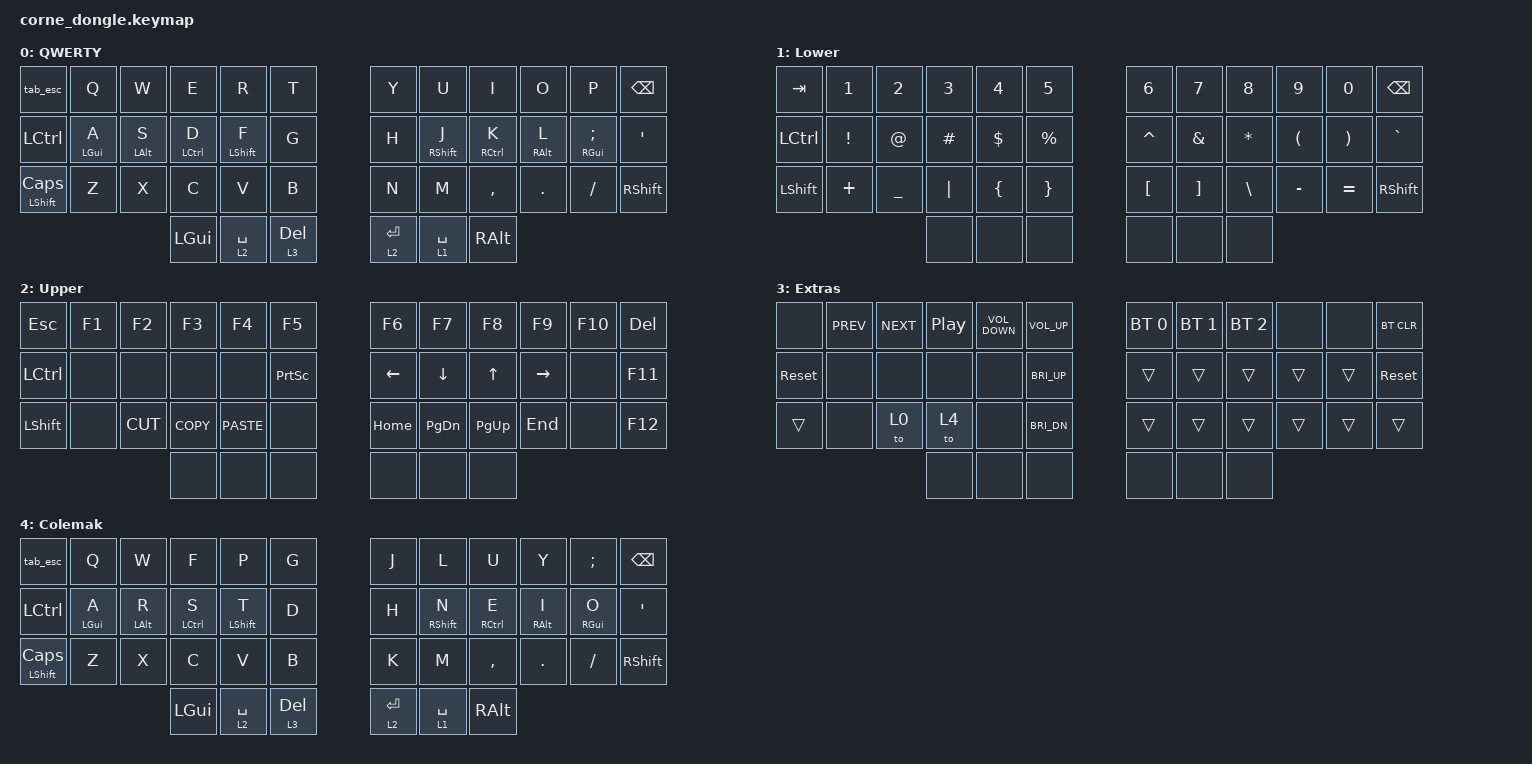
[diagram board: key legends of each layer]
/*
 * Keymap for the Corne dongle (central).
 *
 * NOTE: keep this in sync with corne.keymap. It is a copy with two changes:
 *   1. `&rgb_ug` / `&ext_power` bindings are replaced with `&trans` because the
 *      dongle has no LEDs/ext-power and does not enable those subsystems, so
 *      those behaviors are not defined here and would fail to build.
 *      (RGB still runs on the halves with their start-up settings.)
 *   2. Each layer has a `display-name` so the Prospector layer widget shows names.
 */

#include <behaviors.dtsi>
#include <dt-bindings/zmk/bt.h>
#include <dt-bindings/zmk/ext_power.h>
#include <dt-bindings/zmk/keys.h>
#include <dt-bindings/zmk/rgb.h>

/ {
    behaviors {
        tab_esc: tab_esc {
            compatible = "zmk,behavior-tap-dance";
            label = "TAB_ESC";
            #binding-cells = <0>;
            tapping-term-ms = <200>;
            bindings = <&kp TAB>, <&kp ESC>;
        };

        hm: homerow_mods {
            compatible = "zmk,behavior-hold-tap";
            label = "HOMEROW_MODS";
            #binding-cells = <2>;
            tapping-term-ms = <225>;
            quick_tap_ms = <180>;
            flavor = "tap-preferred";
            bindings = <&kp>, <&kp>;
            global-quick-tap;
        };
    };

    keymap {
        compatible = "zmk,keymap";

        qwerty {
            display-name = "QWERTY";
            bindings = <
&tab_esc                 &kp Q           &kp W           &kp E         &kp R             &kp T         &kp Y        &kp U         &kp I          &kp O            &kp P               &kp BACKSPACE
&kp LCTRL                &hm LEFT_GUI A  &hm LEFT_ALT S  &hm LCTRL D   &hm LEFT_SHIFT F  &kp G         &kp H        &hm RSHIFT J  &hm RCTRL K    &hm RIGHT_ALT L  &hm RGUI SEMICOLON  &kp SQT
&mt LEFT_SHIFT CAPSLOCK  &kp Z           &kp X           &kp C         &kp V             &kp B         &kp N        &kp M         &kp COMMA      &kp DOT          &kp FSLH            &kp RIGHT_SHIFT
                                                         &kp LEFT_GUI  &lt 2 SPACE       &lt 3 DELETE  &lt 2 ENTER  &lt 1 SPACE   &kp RIGHT_ALT
            >;
        };

        lower {
            display-name = "Lower";
            bindings = <
&kp TAB           &kp N1           &kp N2       &kp N3     &kp N4          &kp N5           &kp N6            &kp N7             &kp N8         &kp N9                &kp N0                 &kp BACKSPACE
&kp LEFT_CONTROL  &kp EXCLAMATION  &kp AT_SIGN  &kp POUND  &kp DOLLAR      &kp PERCENT      &kp CARET         &kp AMPERSAND      &kp ASTERISK   &kp LEFT_PARENTHESIS  &kp RIGHT_PARENTHESIS  &kp GRAVE
&kp LEFT_SHIFT    &kp PLUS         &kp UNDER    &kp PIPE   &kp LEFT_BRACE  &kp RIGHT_BRACE  &kp LEFT_BRACKET  &kp RIGHT_BRACKET  &kp BACKSLASH  &kp MINUS             &kp EQUAL              &kp RIGHT_SHIFT
                                                &none      &none           &none            &none             &none              &none
            >;
        };

        upper {
            display-name = "Upper";
            bindings = <
&kp ESCAPE        &kp F1  &kp F2     &kp F3      &kp F4       &kp F5           &kp F6          &kp F7          &kp F8        &kp F9           &kp F10  &kp DELETE
&kp LEFT_CONTROL  &none   &none      &none       &none        &kp PRINTSCREEN  &kp LEFT_ARROW  &kp DOWN_ARROW  &kp UP_ARROW  &kp RIGHT_ARROW  &none    &kp F11
&kp LEFT_SHIFT    &none   &kp K_CUT  &kp K_COPY  &kp K_PASTE  &none            &kp HOME        &kp PAGE_DOWN   &kp PAGE_UP   &kp END          &none    &kp F12
                                     &none       &none        &none            &none           &none           &none
            >;
        };

        extras {
            display-name = "Extras";
            bindings = <
&none      &kp C_PREV  &kp C_NEXT  &kp C_PP  &kp C_VOLUME_DOWN  &kp C_VOL_UP  &bt BT_SEL 0  &bt BT_SEL 1  &bt BT_SEL 2  &none    &none    &bt BT_CLR
&sys_reset &none       &none       &none     &none              &kp C_BRI_UP  &trans        &trans        &trans        &trans   &trans   &sys_reset
&trans     &none       &to 0       &to 4     &none              &kp C_BRI_DN  &trans        &trans        &trans        &trans   &trans   &trans
                                   &none     &none              &none         &none         &none         &none
            >;
        };

        colemak {
            display-name = "Colemak";
            bindings = <
&tab_esc                &kp Q           &kp W               &kp F                   &kp P             &kp G         &kp J        &kp L              &kp U                &kp Y            &kp SEMICOLON    &kp BACKSPACE
&kp LCTRL               &hm LEFT_GUI A  &hm LEFT_ALT R      &hm LEFT_CONTROL S      &hm LEFT_SHIFT T  &kp D         &kp H        &hm RIGHT_SHIFT N  &hm RIGHT_CONTROL E  &hm RIGHT_ALT I  &hm RIGHT_GUI O  &kp SQT
&mt LEFT_SHIFT CAPSLOCK &kp Z           &kp X               &kp C                   &kp V             &kp B         &kp K        &kp M              &kp COMMA            &kp DOT          &kp FSLH         &kp RIGHT_SHIFT
                                        &kp LEFT_GUI        &lt 2 SPACE             &lt 3 DELETE      &lt 2 ENTER   &lt 1 SPACE  &kp RIGHT_ALT
            >;
        };
    };
};
